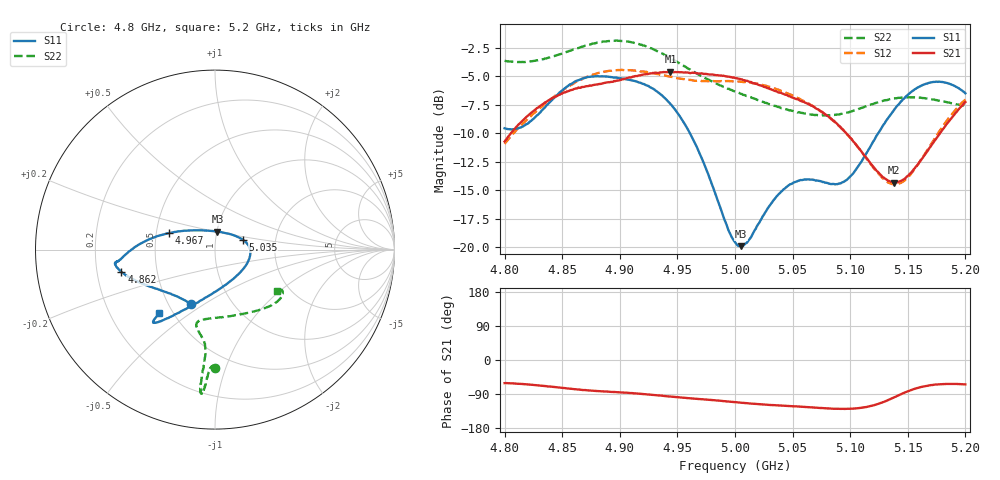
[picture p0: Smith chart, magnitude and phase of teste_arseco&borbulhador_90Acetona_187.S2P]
! Network Analyzer HP8722D
! Hewlett-Packard
! Data name: Linha & Wilkinson
! Saver's name: Rodrigo Anjos
! Comments: Teste da utilização de aquisição
! continua pelo VNA HP8722D
! Time and date: 17/4/2025 12:36
!  Frequency  S11  S21  S12  S22
# HZ  S  MA R 50
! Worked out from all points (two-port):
!   401 points, 4.8 GHz to 5.2 GHz, reference 50 ohm
!   highest |S21| = -4.61 dB at 4.944 GHz (marker M1); lowest = -14.3 dB at 5.138 GHz (marker M2)
!   |S21| within 3 dB of the highest: 4.831 GHz to 5.067 GHz (236.4 MHz wide, 4.78 % of centre); 5.196776 GHz to end of sweep
!   lowest |S11| = -19.9 dB at 5.005 GHz (marker M3), VSWR 1.22, Z = 50.4 + j10.2 ohm
!   |S11| at or under -10 dB: 4.961 GHz to 5.124 GHz (163.4 MHz wide, 3.24 % of centre)
!   |S22| runs from -8.5 to -1.9 dB; largest |S21 - S12| = 0.88
!   S11 on the Smith chart (normalised r, x): 4.8 GHz: 0.64, -0.44; 4.862 GHz: 0.31, -0.11; 4.967 GHz: 0.58, +0.12; 5.035 GHz: 1.36, +0.15; 5.2 GHz: 0.42, -0.39
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4.8e9  0.3325 -113.9  0.2907 -61.0  0.284 -175.1  0.6573 -89.9
4.819e9  0.3467 -134.0  0.373 -64.3  0.3605 -173.8  0.6512 -91.5
4.862e9  0.5359 -166.4  0.4971 -77.2  0.5312 -177.1  0.742 -93.9
4.867e9  0.5478 -168.4  0.5044 -78.9  0.5443 -178.0  0.7577 -94.0
4.899e9  0.5511 -173.0  0.5384 -85.2  0.5988 175.4  0.8039 -95.5
4.934e9  0.4755 -179.1  0.5821 -93.6  0.5737 171.7  0.7177 -96.0
4.944e9  0.4252 176.2  0.5878 -96.4  0.5594 171.9  0.6752 -95.7
4.967e9  0.2741 160.4  0.58 -102.4  0.5368 173.8  0.5773 -95.3
5e9  0.1053 99.2  0.5529 -111.3  0.5346 176.0  0.4822 -99.5
5.005e9  0.1011 82.2  0.5455 -112.5  0.5317 175.9  0.4706 -100.7
5.012e9  0.1075 60.2  0.5326 -114.4  0.5288 175.8  0.4571 -102.1
5.035e9  0.1642 19.8  0.4838 -119.3  0.4967 174.6  0.4163 -103.6
5.049e9  0.1896 5.5  0.4545 -121.8  0.4654 174.1  0.3975 -100.2
5.067e9  0.1982 -13.5  0.4167 -125.0  0.4184 173.4  0.3816 -91.1
5.087e9  0.1887 -45.7  0.3531 -128.6  0.352 173.5  0.3809 -75.8
5.097e9  0.1973 -66.4  0.3141 -129.0  0.3137 174.7  0.3892 -67.5
5.134e9  0.3753 -117.1  0.1951 -104.3  0.1912 -157.2  0.4456 -43.2
5.138e9  0.4002 -119.4  0.1921 -98.9  0.1889 -150.9  0.4485 -41.3
5.151e9  0.4705 -125.1  0.2078 -81.4  0.205 -130.9  0.4548 -36.6
5.17e9  0.5284 -129.5  0.2772 -66.3  0.2825 -112.6  0.4459 -32.1
5.184e9  0.5254 -130.8  0.3483 -63.2  0.36 -107.5  0.4327 -31.2
5.2e9  0.4732 -131.2  0.4332 -64.5  0.445 -106.6  0.4165 -33.6
